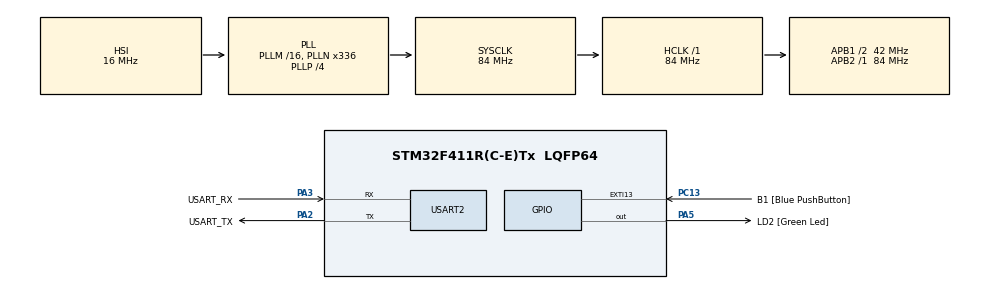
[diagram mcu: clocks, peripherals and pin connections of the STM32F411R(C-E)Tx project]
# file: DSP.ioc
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ARM.CMSIS.5.6.0.CMSISJjCORE=true
ARM.CMSIS.5.6.0.CMSISJjDSP=Library
Mcu.Family=STM32F4
Mcu.Name=STM32F411R(C-E)Tx
Mcu.Package=LQFP64
NVIC.PriorityGroup=NVIC_PRIORITYGROUP_0
PA13.GPIO_Label=TMS
PA13.Mode=Serial_Wire
PA13.Signal=SYS_JTMS-SWDIO
PA14.GPIO_Label=TCK
PA14.Mode=Serial_Wire
PA14.Signal=SYS_JTCK-SWCLK
PA2.GPIO_Label=USART_TX
PA2.Mode=Asynchronous
PA2.Signal=USART2_TX
PA3.GPIO_Label=USART_RX
PA3.Mode=Asynchronous
PA3.Signal=USART2_RX
PA5.GPIO_Label=LD2 [Green Led]
PA5.Signal=GPIO_Output
PB3.GPIO_Label=SWO
PB3.Signal=SYS_JTDO-SWO
PC13-ANTI_TAMP.GPIO_Label=B1 [Blue PushButton]
PC13-ANTI_TAMP.GPIO_ModeDefaultEXTI=GPIO_MODE_IT_FALLING
PC13-ANTI_TAMP.Signal=GPXTI13
PC14-OSC32_IN.Mode=LSE-External-Oscillator
PC14-OSC32_IN.Signal=RCC_OSC32_IN
PC15-OSC32_OUT.Mode=LSE-External-Oscillator
PC15-OSC32_OUT.Signal=RCC_OSC32_OUT
PH0\ -\ OSC_IN.Mode=HSE-External-Clock-Source
PH0\ -\ OSC_IN.Signal=RCC_OSC_IN
PH1\ -\ OSC_OUT.Mode=HSE-External-Clock-Source
PH1\ -\ OSC_OUT.Signal=RCC_OSC_OUT
ProjectManager.HeapSize=0x200
ProjectManager.StackSize=0x400
ProjectManager.TargetToolchain=STM32CubeIDE
RCC.48MHZClocksFreq_Value=84000000
RCC.AHBFreq_Value=84000000
RCC.APB1CLKDivider=RCC_HCLK_DIV2
RCC.APB1Freq_Value=42000000
RCC.APB1TimFreq_Value=84000000
RCC.APB2Freq_Value=84000000
RCC.APB2TimFreq_Value=84000000
RCC.CortexFreq_Value=84000000
RCC.FLatency-AdvancedSettings=FLASH_LATENCY_2
RCC.HCLKFreq_Value=84000000
RCC.HSE_VALUE=8000000
RCC.HSI_VALUE=16000000
RCC.PLLN=336
RCC.PLLP=RCC_PLLP_DIV4
RCC.SYSCLKFreq_VALUE=84000000
RCC.SYSCLKSource=RCC_SYSCLKSOURCE_PLLCLK
RCC.VCOOutputFreq_Value=336000000
USART2.VirtualMode=VM_ASYNC
VP_ARM.CMSIS_VS_CMSISJjCORE_5.3.0_5.6.0.Mode=CMSISJjCORE
VP_ARM.CMSIS_VS_CMSISJjDSP_1.7.0_5.6.0.Mode=CMSISJjDSP
board=NUCLEO-F411RE

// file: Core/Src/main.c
/* USER CODE BEGIN Header */
/**
  ******************************************************************************
  * @file           : main.c
  * @brief          : Main program body
  ******************************************************************************
  * @attention
  *
  * Copyright (c) 2023 STMicroelectronics.
  * All rights reserved.
  *
  * This software is licensed under terms that can be found in the LICENSE file
  * in the root directory of this software component.
  * If no LICENSE file comes with this software, it is provided AS-IS.
  *
  ******************************************************************************
  */
/* USER CODE END Header */
#include "main.h"

/* USER CODE BEGIN Includes */
#include "arm_math.h"
/* USER CODE END Includes */

UART_HandleTypeDef huart2;

/* USER CODE BEGIN PV */

// start Matrix
float32_t A_f32[16] = {
	1 , 2 , 3 , 4,
	5 , 6 , 7 , 8,
	9 , 10, 11, 12,
	13, 14, 15, 16
};
arm_matrix_instance_f32 A;

float32_t B_f32[4] = {
		1,
		2,
		3,
		4
};
arm_matrix_instance_f32 B;

//Output and storage matrix
float32_t At_f32[16]; // A transpose
arm_matrix_instance_f32 At;

float32_t AtmA_f32[16]; // A transpose multiply A = tran(A) *A
arm_matrix_instance_f32 AtmA;

float32_t AaB_f32[16]; // A Addition B
arm_matrix_instance_f32 AaB;

volatile arm_status Calcst;

arm_pid_instance_f32 PID = {0};
float position = 0;
float setposition = 0;
float ControlInput = 0;
/* USER CODE END PV */

void SystemClock_Config(void);
static void MX_GPIO_Init(void);
static void MX_USART2_UART_Init(void);
/* USER CODE BEGIN PFP */
float PlantSimulation(float VIn);
/* USER CODE END PFP */

int main(void)
{

  /* MCU Configuration--------------------------------------------------------*/

  /* Reset of all peripherals, Initializes the Flash interface and the Systick. */
  HAL_Init();

  /* Configure the system clock */
  SystemClock_Config();

  /* Initialize all configured peripherals */
  MX_GPIO_Init();
  MX_USART2_UART_Init();
  /* USER CODE BEGIN 2 */
arm_mat_init_f32(&A, 4, 4,(float32_t*) &A_f32);
arm_mat_init_f32(&At, 4, 4,(float32_t*) &At_f32);
arm_mat_init_f32(&AtmA, 4, 4,(float32_t*) &AtmA_f32);
arm_mat_init_f32(&B, 4, 4,(float32_t*) &B_f32);
arm_mat_init_f32(&AaB, 4, 4,(float32_t*) &AaB_f32);

PID.Kp = 0.1;
PID.Ki = 0.00001;
PID.Kd = 0.1;
arm_pid_init_f32(&PID,0);
  /* USER CODE END 2 */

  /* Infinite loop */
  while (1)
  {
    /* USER CODE BEGIN 3 */
	  static uint32_t timestamp = 0;
	  if(timestamp < HAL_GetTick())
	  {
		  timestamp = HAL_GetTick() + 10;

		  ControlInput = arm_pid_f32(&PID, setposition - position);
		  position = PlantSimulation(ControlInput);
	  }

	  static GPIO_PinState B1[2];
	  B1[0] = HAL_GPIO_ReadPin(GPIOC, GPIO_PIN_13);
	  if(B1[0] == 0 && B1[1] == 1){
		  Calcst = arm_mat_trans_f32(&A,&At);

		  Calcst = arm_mat_mult_f32(&A,&At,&AtmA);

		  Calcst = arm_mat_add_f32(&A,&B,&AaB);
	  }
	  B1[1] = B1[0];
  }
  /* USER CODE END 3 */
}

void SystemClock_Config(void)
{
  RCC_OscInitTypeDef RCC_OscInitStruct = {0};
  RCC_ClkInitTypeDef RCC_ClkInitStruct = {0};

  /** Configure the main internal regulator output voltage
  */
  __HAL_RCC_PWR_CLK_ENABLE();
  __HAL_PWR_VOLTAGESCALING_CONFIG(PWR_REGULATOR_VOLTAGE_SCALE1);

  /** Initializes the RCC Oscillators according to the specified parameters
  * in the RCC_OscInitTypeDef structure.
  */
  RCC_OscInitStruct.OscillatorType = RCC_OSCILLATORTYPE_HSI;
  RCC_OscInitStruct.HSIState = RCC_HSI_ON;
  RCC_OscInitStruct.HSICalibrationValue = RCC_HSICALIBRATION_DEFAULT;
  RCC_OscInitStruct.PLL.PLLState = RCC_PLL_ON;
  RCC_OscInitStruct.PLL.PLLSource = RCC_PLLSOURCE_HSI;
  RCC_OscInitStruct.PLL.PLLM = 16;
  RCC_OscInitStruct.PLL.PLLN = 336;
  RCC_OscInitStruct.PLL.PLLP = RCC_PLLP_DIV4;
  RCC_OscInitStruct.PLL.PLLQ = 4;
  if (HAL_RCC_OscConfig(&RCC_OscInitStruct) != HAL_OK)
  {
    Error_Handler();
  }

  /** Initializes the CPU, AHB and APB buses clocks
  */
  RCC_ClkInitStruct.ClockType = RCC_CLOCKTYPE_HCLK|RCC_CLOCKTYPE_SYSCLK
                              |RCC_CLOCKTYPE_PCLK1|RCC_CLOCKTYPE_PCLK2;
  RCC_ClkInitStruct.SYSCLKSource = RCC_SYSCLKSOURCE_PLLCLK;
  RCC_ClkInitStruct.AHBCLKDivider = RCC_SYSCLK_DIV1;
  RCC_ClkInitStruct.APB1CLKDivider = RCC_HCLK_DIV2;
  RCC_ClkInitStruct.APB2CLKDivider = RCC_HCLK_DIV1;

  if (HAL_RCC_ClockConfig(&RCC_ClkInitStruct, FLASH_LATENCY_2) != HAL_OK)
  {
    Error_Handler();
  }
}

static void MX_USART2_UART_Init(void)
{

  huart2.Instance = USART2;
  huart2.Init.BaudRate = 115200;
  huart2.Init.WordLength = UART_WORDLENGTH_8B;
  huart2.Init.StopBits = UART_STOPBITS_1;
  huart2.Init.Parity = UART_PARITY_NONE;
  huart2.Init.Mode = UART_MODE_TX_RX;
  huart2.Init.HwFlowCtl = UART_HWCONTROL_NONE;
  huart2.Init.OverSampling = UART_OVERSAMPLING_16;
  if (HAL_UART_Init(&huart2) != HAL_OK)
  {
    Error_Handler();
  }

}

static void MX_GPIO_Init(void)
{
  GPIO_InitTypeDef GPIO_InitStruct = {0};

  /* GPIO Ports Clock Enable */
  __HAL_RCC_GPIOC_CLK_ENABLE();
  __HAL_RCC_GPIOH_CLK_ENABLE();
  __HAL_RCC_GPIOA_CLK_ENABLE();
  __HAL_RCC_GPIOB_CLK_ENABLE();

  /*Configure GPIO pin Output Level */
  HAL_GPIO_WritePin(LD2_GPIO_Port, LD2_Pin, GPIO_PIN_RESET);

  /*Configure GPIO pin : B1_Pin */
  GPIO_InitStruct.Pin = B1_Pin;
  GPIO_InitStruct.Mode = GPIO_MODE_IT_FALLING;
  GPIO_InitStruct.Pull = GPIO_NOPULL;
  HAL_GPIO_Init(B1_GPIO_Port, &GPIO_InitStruct);

  /*Configure GPIO pin : LD2_Pin */
  GPIO_InitStruct.Pin = LD2_Pin;
  GPIO_InitStruct.Mode = GPIO_MODE_OUTPUT_PP;
  GPIO_InitStruct.Pull = GPIO_NOPULL;
  GPIO_InitStruct.Speed = GPIO_SPEED_FREQ_LOW;
  HAL_GPIO_Init(LD2_GPIO_Port, &GPIO_InitStruct);

}

/* USER CODE BEGIN 4 */
float PlantSimulation(float VIn){
	static float speed = 0;
	static float position = 0;
	float current = VIn - speed * 0.0123;
	float torque = current * 0.0456;
	float acc = torque * 0.789;
	speed += acc;
	position += speed;
	return position;

}
/* USER CODE END 4 */

void Error_Handler(void)
{
  __disable_irq();
  while (1)
  {
  }
}
